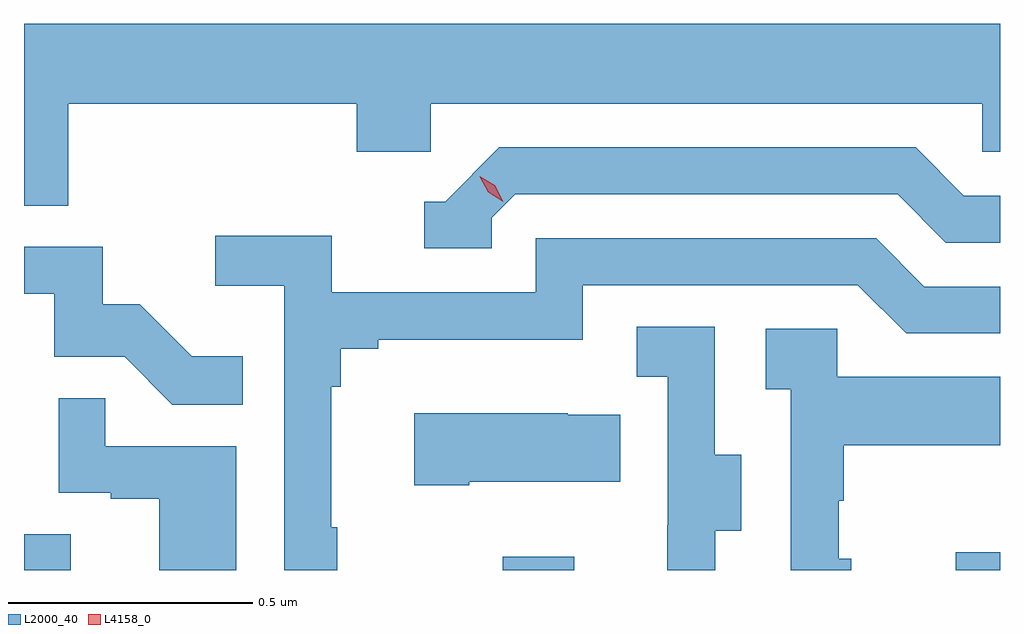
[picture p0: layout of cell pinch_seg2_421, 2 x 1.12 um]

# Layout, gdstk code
import gdstk
lib = gdstk.Library(unit=1e-6, precision=1e-09)
def R(c, l, rs):  # rectangles x0, y0, x1, y1
    for r in rs: c.add(gdstk.rectangle(r[:2], r[2:], *l))
def P(c, l, *ps):  # polygons
    for p in ps: c.add(gdstk.Polygon(p, *l))
L2000_40 = (2000, 40)
L4158_0 = (4158, 0)

pinch_seg2_421 = lib.new_cell('pinch_seg2_421')
R(pinch_seg2_421, L2000_40, [(952.501,614.713,952.597,614.786), (953.482,614.713,953.629,614.74), (954.41,614.713,954.501,614.749)])
P(pinch_seg2_421, L2000_40, [(952.592,615.668),(953.183,615.668),(953.183,615.57),(953.334,615.57),(953.334,615.668),(954.465,615.668),(954.465,615.57),(954.501,615.57),(954.501,615.832),(952.501,615.832),(952.501,615.46),(952.592,615.46)],
  [(953.46,615.435),(953.508,615.483),(954.291,615.483),(954.39,615.384),(954.501,615.384),(954.501,615.48),(954.427,615.48),(954.328,615.579),(953.475,615.579),(953.364,615.468),(953.321,615.468),(953.321,615.372),(953.46,615.372)],
  [(953.143,614.801),(953.131,614.801),(953.131,615.089),(953.15,615.089),(953.15,615.166),(953.227,615.166),(953.227,615.185),(953.646,615.185),(953.646,615.297),(954.21,615.297),(954.309,615.198),(954.501,615.198),(954.501,615.294),(954.346,615.294),(954.247,615.393),(953.55,615.393),(953.55,615.282),(953.132,615.282),(953.132,615.398),(952.893,615.398),(952.893,615.296),(953.034,615.296),(953.034,614.713),(953.143,614.713)],
  [(952.949,615.151),(952.845,615.151),(952.738,615.258),(952.662,615.258),(952.662,615.375),(952.501,615.375),(952.501,615.279),(952.563,615.279),(952.563,615.15),(952.707,615.15),(952.805,615.052),(952.949,615.052)],
  [(953.917,614.794),(953.971,614.794),(953.971,614.949),(953.916,614.949),(953.916,615.212),(953.757,615.212),(953.757,615.109),(953.82,615.109),(953.82,614.805),(953.819,614.805),(953.819,614.713),(953.917,614.713)],
  [(954.196,614.736),(954.171,614.736),(954.171,614.855),(954.181,614.855),(954.181,614.969),(954.501,614.969),(954.501,615.109),(954.168,615.109),(954.168,615.207),(954.021,615.207),(954.021,615.083),(954.072,615.083),(954.072,614.713),(954.196,614.713)],
  [(952.936,614.967),(952.667,614.967),(952.667,615.065),(952.572,615.065),(952.572,614.871),(952.679,614.871),(952.679,614.859),(952.778,614.859),(952.778,614.713),(952.936,614.713)],
  [(953.413,614.894),(953.723,614.894),(953.723,615.031),(953.615,615.031),(953.615,615.034),(953.301,615.034),(953.301,614.887),(953.413,614.887)])
P(pinch_seg2_421, L4158_0, [(953.483,615.468),(953.452,615.487),(953.435,615.519),(953.435,615.52),(953.435,615.52),(953.466,615.501),(953.483,615.468),(953.483,615.468)])

lib.write_gds('pinch_seg2_421.gds')
